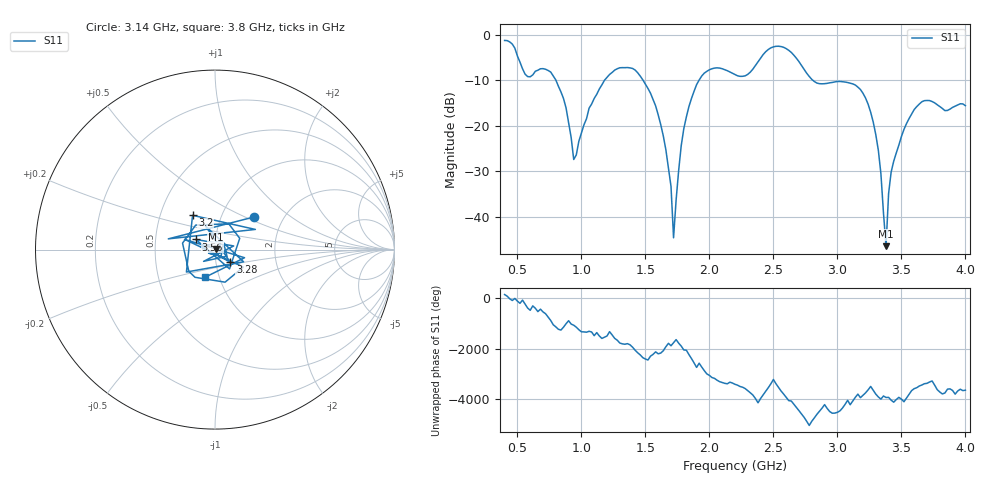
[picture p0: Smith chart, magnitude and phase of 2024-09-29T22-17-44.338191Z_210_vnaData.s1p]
!Created with skrf (http://scikit-rf.org).
# Hz S RI R 50.0
!freq ReS11 ImS11
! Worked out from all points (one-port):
!   181 points, 400 MHz to 4 GHz, reference 50 ohm
!   lowest |S11| = -46.5 dB at 3.38 GHz (marker M1), VSWR 1.01, Z = 50.4 + j0.276 ohm
!   |S11| at or under -10 dB: 801.7 MHz to 1.179 GHz (377.7 MHz wide, 38.1 % of centre); 1.483 GHz to 1.918 GHz (435.6 MHz wide, 25.6 % of centre); 2.81 GHz to end of sweep
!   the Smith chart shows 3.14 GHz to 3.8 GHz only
!   S11 on the Smith chart (normalised r, x): 3.14 GHz: 1.42, +0.56; 3.2 GHz: 0.73, +0.29; 3.28 GHz: 1.17, -0.17; 3.56 GHz: 0.80, +0.09; 3.8 GHz: 0.86, -0.27
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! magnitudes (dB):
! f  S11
! 400 MHz  -1.2
! 760 MHz  -8.1
! 860 MHz  -14.0
! 940 MHz  -27.4
! 1.06 GHz  -16.1
! 1.3 GHz  -7.2
! 1.44 GHz  -8.3
! 1.58 GHz  -15.6
! 1.7 GHz  -33.3
! 1.72 GHz  -44.7
! 1.76 GHz  -29.8
! 1.82 GHz  -18.0
! 1.92 GHz  -9.9
! 2.2 GHz  -8.7
! 2.5 GHz  -2.6
! 2.66 GHz  -4.4
! 2.84 GHz  -10.6
! 3.1 GHz  -10.6
! 3.14 GHz  -11.0
! 3.2 GHz  -12.8
! 3.28 GHz  -19.2
! 3.34 GHz  -30.6
! 3.38 GHz  -46.5
! 3.4 GHz  -34.9
! 3.42 GHz  -30.2
! 3.56 GHz  -18.4
! 3.8 GHz  -15.7
! 4 GHz  -15.6
